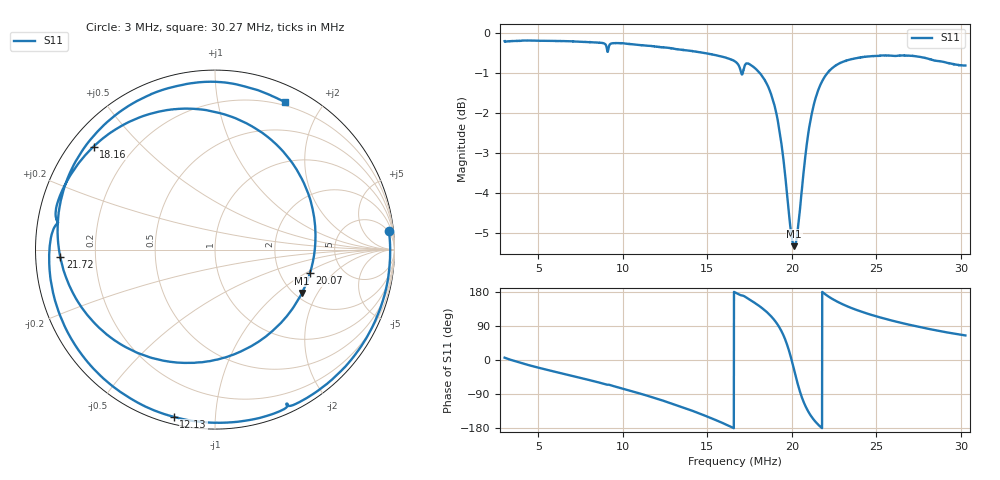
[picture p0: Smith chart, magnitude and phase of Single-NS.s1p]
# HZ S RI R 50
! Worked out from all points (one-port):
!   2727 points, 3 MHz to 30.27 MHz, reference 50 ohm
!   lowest |S11| = -5.3 dB at 20.14 MHz (marker M1), VSWR 3.35, Z = 109 - j74.3 ohm
!   |S11| at or under -10 dB: nowhere
!   S11 on the Smith chart (normalised r, x): 3 MHz: 4, +18; 12.13 MHz: 0.03, -0.78; 18.16 MHz: 0.07, +0.37; 20.07 MHz: 2.94, -1.10; 21.72 MHz: 0.07, -0.02; 30.27 MHz: 0.16, +1.56
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3000000  0.9705 0.1043
4520608  0.9457 -0.2477
6411364  0.7931 -0.5692
8182072  0.5602 -0.7952
9822728  0.2755 -0.9304
1.213365e7  -0.2292 -0.932
1.323409e7  -0.4782 -0.8247
1.516486e7  -0.8336 -0.4355
1.663545e7  -0.9203 0.0249
1.744578e7  -0.8641 0.2994
1.815606e7  -0.6768 0.5743
1.885634e7  -0.2982 0.7717
1.929652e7  0.0848 0.7426
1.952661e7  0.3135 0.6114
1.97467e7  0.4962 0.3686
2.004682e7  0.5381 -0.0988
2.006682e7  0.5289 -0.1314
2.013685e7  0.4839 -0.2412
2.041696e7  0.1592 -0.5606
2.068707e7  -0.2236 -0.6281
2.092717e7  -0.4981 -0.5431
2.115726e7  -0.6771 -0.4034
2.171748e7  -0.862 -0.042
2.25178e7  -0.8415 0.3391
2.345818e7  -0.6923 0.6146
2.496878e7  -0.4046 0.843
2.686954e7  -0.0631 0.934
3.02709e7  0.3875 0.8233
